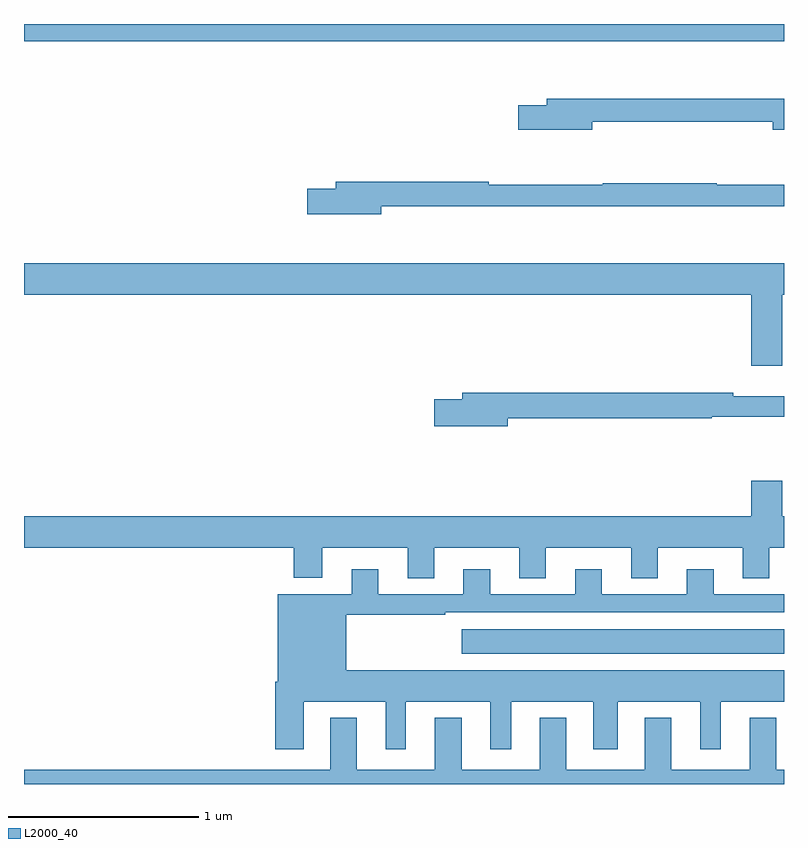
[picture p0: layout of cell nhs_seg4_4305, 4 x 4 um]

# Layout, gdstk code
import gdstk
lib = gdstk.Library(unit=1e-6, precision=1e-09)
def R(c, l, rs):  # rectangles x0, y0, x1, y1
    for r in rs: c.add(gdstk.rectangle(r[:2], r[2:], *l))
def P(c, l, *ps):  # polygons
    for p in ps: c.add(gdstk.Polygon(p, *l))
L2000_40 = (2000, 40)

nhs_seg4_4305 = lib.new_cell('nhs_seg4_4305')
R(nhs_seg4_4305, L2000_40, [(343.305,805.586,345,805.714), (341,808.808,345,808.9)])
P(nhs_seg4_4305, L2000_40, [(343.99,808.386),(344.942,808.386),(344.942,808.343),(345,808.343),(345,808.507),(343.751,808.507),(343.751,808.473),(343.602,808.473),(343.602,808.343),(343.99,808.343)],
  [(342.88,807.942),(345,807.942),(345,808.055),(344.645,808.055),(344.645,808.063),(344.045,808.063),(344.045,808.055),(343.445,808.055),(343.445,808.07),(342.641,808.07),(342.641,808.034),(342.492,808.034),(342.492,807.899),(342.88,807.899)],
  [(341,807.476),(344.828,807.476),(344.828,807.102),(344.992,807.102),(344.992,807.476),(345,807.476),(345,807.64),(341,807.64)],
  [(343.546,806.824),(344.619,806.824),(344.619,806.832),(345,806.832),(345,806.941),(344.732,806.941),(344.732,806.96),(343.307,806.96),(343.307,806.924),(343.158,806.924),(343.158,806.782),(343.546,806.782)],
  [(343.159,806.144),(343.607,806.144),(343.607,805.984),(343.747,805.984),(343.747,806.144),(344.195,806.144),(344.195,805.984),(344.335,805.984),(344.335,806.144),(344.783,806.144),(344.783,805.984),(344.923,805.984),(344.923,806.144),(345,806.144),(345,806.308),(344.992,806.308),(344.992,806.497),(344.828,806.497),(344.828,806.308),(341,806.308),(341,806.144),(342.419,806.144),(342.419,805.985),(342.571,805.985),(342.571,806.144),(343.019,806.144),(343.019,805.984),(343.159,805.984)],
  [(342.472,805.334),(342.905,805.334),(342.905,805.083),(343.009,805.083),(343.009,805.334),(343.454,805.334),(343.454,805.083),(343.564,805.083),(343.564,805.334),(343.997,805.334),(343.997,805.083),(344.125,805.083),(344.125,805.334),(344.558,805.334),(344.558,805.083),(344.668,805.083),(344.668,805.334),(345,805.334),(345,805.498),(342.697,805.498),(342.697,805.791),(343.217,805.791),(343.217,805.803),(345,805.803),(345,805.899),(344.629,805.899),(344.629,806.029),(344.489,806.029),(344.489,805.899),(344.041,805.899),(344.041,806.029),(343.901,806.029),(343.901,805.899),(343.453,805.899),(343.453,806.029),(343.313,806.029),(343.313,805.899),(342.865,805.899),(342.865,806.029),(342.725,806.029),(342.725,805.9),(342.335,805.9),(342.335,805.438),(342.323,805.438),(342.323,805.083),(342.472,805.083)],
  [(345,804.976),(344.959,804.976),(344.959,805.249),(344.819,805.249),(344.819,804.976),(344.407,804.976),(344.407,805.249),(344.267,805.249),(344.267,804.976),(343.855,804.976),(343.855,805.249),(343.715,805.249),(343.715,804.976),(343.303,804.976),(343.303,805.249),(343.163,805.249),(343.163,804.976),(342.751,804.976),(342.751,805.249),(342.611,805.249),(342.611,804.976),(341,804.976),(341,804.9),(345,804.9)])

lib.write_gds('nhs_seg4_4305.gds')
